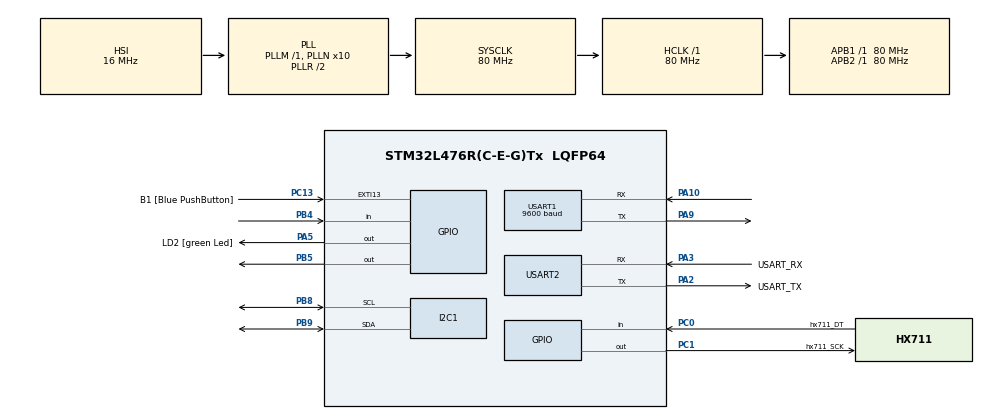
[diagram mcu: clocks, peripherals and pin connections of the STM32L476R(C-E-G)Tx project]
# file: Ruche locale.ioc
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Dma.Request0=USART1_RX
Dma.Request1=USART1_TX
Dma.Request2=USART2_RX
Dma.Request3=USART2_TX
Dma.USART1_RX.0.Direction=DMA_PERIPH_TO_MEMORY
Dma.USART1_RX.0.Instance=DMA1_Channel5
Dma.USART1_RX.0.MemDataAlignment=DMA_MDATAALIGN_BYTE
Dma.USART1_RX.0.MemInc=DMA_MINC_ENABLE
Dma.USART1_RX.0.Mode=DMA_NORMAL
Dma.USART1_RX.0.PeriphDataAlignment=DMA_PDATAALIGN_BYTE
Dma.USART1_RX.0.PeriphInc=DMA_PINC_DISABLE
Dma.USART1_RX.0.Priority=DMA_PRIORITY_LOW
Dma.USART1_TX.1.Direction=DMA_MEMORY_TO_PERIPH
Dma.USART1_TX.1.Instance=DMA1_Channel4
Dma.USART1_TX.1.MemDataAlignment=DMA_MDATAALIGN_BYTE
Dma.USART1_TX.1.MemInc=DMA_MINC_ENABLE
Dma.USART1_TX.1.Mode=DMA_NORMAL
Dma.USART1_TX.1.PeriphDataAlignment=DMA_PDATAALIGN_BYTE
Dma.USART1_TX.1.PeriphInc=DMA_PINC_DISABLE
Dma.USART1_TX.1.Priority=DMA_PRIORITY_LOW
Dma.USART2_RX.2.Direction=DMA_PERIPH_TO_MEMORY
Dma.USART2_RX.2.Instance=DMA1_Channel6
Dma.USART2_RX.2.MemDataAlignment=DMA_MDATAALIGN_BYTE
Dma.USART2_RX.2.MemInc=DMA_MINC_ENABLE
Dma.USART2_RX.2.Mode=DMA_NORMAL
Dma.USART2_RX.2.PeriphDataAlignment=DMA_PDATAALIGN_BYTE
Dma.USART2_RX.2.PeriphInc=DMA_PINC_DISABLE
Dma.USART2_RX.2.Priority=DMA_PRIORITY_LOW
Dma.USART2_TX.3.Direction=DMA_MEMORY_TO_PERIPH
Dma.USART2_TX.3.Instance=DMA1_Channel7
Dma.USART2_TX.3.MemDataAlignment=DMA_MDATAALIGN_BYTE
Dma.USART2_TX.3.MemInc=DMA_MINC_ENABLE
Dma.USART2_TX.3.Mode=DMA_NORMAL
Dma.USART2_TX.3.PeriphDataAlignment=DMA_PDATAALIGN_BYTE
Dma.USART2_TX.3.PeriphInc=DMA_PINC_DISABLE
Dma.USART2_TX.3.Priority=DMA_PRIORITY_LOW
I2C1.Timing=0x10D19CE4
Mcu.Family=STM32L4
Mcu.Name=STM32L476R(C-E-G)Tx
Mcu.Package=LQFP64
NVIC.DMA1_Channel4_IRQn=true\:0\:0\:false\:false\:true\:false\:true\:true
NVIC.DMA1_Channel5_IRQn=true\:0\:0\:false\:false\:true\:false\:true\:true
NVIC.DMA1_Channel6_IRQn=true\:0\:0\:false\:false\:true\:false\:true\:true
NVIC.DMA1_Channel7_IRQn=true\:0\:0\:false\:false\:true\:false\:true\:true
NVIC.PriorityGroup=NVIC_PRIORITYGROUP_4
PA10.Mode=Asynchronous
PA10.Signal=USART1_RX
PA13\ (JTMS-SWDIO).GPIO_Label=TMS
PA13\ (JTMS-SWDIO).Mode=Serial_Wire
PA13\ (JTMS-SWDIO).Signal=SYS_JTMS-SWDIO
PA14\ (JTCK-SWCLK).GPIO_Label=TCK
PA14\ (JTCK-SWCLK).Mode=Serial_Wire
PA14\ (JTCK-SWCLK).Signal=SYS_JTCK-SWCLK
PA2.GPIO_Label=USART_TX
PA2.GPIO_Mode=GPIO_MODE_AF_PP
PA2.GPIO_PuPd=GPIO_NOPULL
PA2.GPIO_Speed=GPIO_SPEED_FREQ_VERY_HIGH
PA2.Mode=Asynchronous
PA2.Signal=USART2_TX
PA3.GPIO_Label=USART_RX
PA3.GPIO_Mode=GPIO_MODE_AF_PP
PA3.GPIO_PuPd=GPIO_NOPULL
PA3.GPIO_Speed=GPIO_SPEED_FREQ_VERY_HIGH
PA3.Mode=Asynchronous
PA3.Signal=USART2_RX
PA5.GPIO_Label=LD2 [green Led]
PA5.GPIO_ModeDefaultOutputPP=GPIO_MODE_OUTPUT_PP
PA5.GPIO_PuPd=GPIO_NOPULL
PA5.GPIO_Speed=GPIO_SPEED_FREQ_LOW
PA5.Signal=GPIO_Output
PA9.Mode=Asynchronous
PA9.Signal=USART1_TX
PB3\ (JTDO-TRACESWO).GPIO_Label=SWO
PB3\ (JTDO-TRACESWO).Signal=SYS_JTDO-SWO
PB4\ (NJTRST).Signal=GPIO_Input
PB5.GPIO_ModeDefaultOutputPP=GPIO_MODE_OUTPUT_OD
PB5.GPIO_PuPd=GPIO_PULLUP
PB5.Signal=GPIO_Output
PB8.Mode=I2C
PB8.Signal=I2C1_SCL
PB9.Mode=I2C
PB9.Signal=I2C1_SDA
PC0.GPIO_Label=hx711_DT
PC0.Signal=GPIO_Input
PC1.GPIO_Label=hx711_SCK
PC1.GPIO_Speed=GPIO_SPEED_FREQ_MEDIUM
PC1.Signal=GPIO_Output
PC13.GPIO_Label=B1 [Blue PushButton]
PC13.GPIO_ModeDefaultEXTI=GPIO_MODE_IT_FALLING
PC13.GPIO_PuPd=GPIO_NOPULL
PC13.Signal=GPXTI13
PC14-OSC32_IN\ (PC14).Mode=LSE-External-Oscillator
PC14-OSC32_IN\ (PC14).Signal=RCC_OSC32_IN
PC15-OSC32_OUT\ (PC15).Mode=LSE-External-Oscillator
PC15-OSC32_OUT\ (PC15).Signal=RCC_OSC32_OUT
PH0-OSC_IN\ (PH0).Signal=RCC_OSC_IN
PH1-OSC_OUT\ (PH1).Signal=RCC_OSC_OUT
ProjectManager.HeapSize=0x200
ProjectManager.StackSize=0x400
ProjectManager.TargetToolchain=STM32CubeIDE
RCC.ADCFreq_Value=64000000
RCC.AHBFreq_Value=80000000
RCC.APB1Freq_Value=80000000
RCC.APB1TimFreq_Value=80000000
RCC.APB2Freq_Value=80000000
RCC.APB2TimFreq_Value=80000000
RCC.CortexFreq_Value=80000000
RCC.HCLKFreq_Value=80000000
RCC.HSE_VALUE=8000000
RCC.HSI_VALUE=16000000
RCC.MSI_VALUE=4000000
RCC.PLLN=10
RCC.PLLSourceVirtual=RCC_PLLSOURCE_HSI
RCC.PREFETCH_ENABLE=1
RCC.SYSCLKFreq_VALUE=80000000
RCC.SYSCLKSource=RCC_SYSCLKSOURCE_PLLCLK
RCC.USBFreq_Value=64000000
RCC.VCOOutputFreq_Value=160000000
TIM2.Prescaler=79
TIM6.Prescaler=50-1
USART1.BaudRate=9600
USART1.VirtualMode-Asynchronous=VM_ASYNC
USART2.VirtualMode-Asynchronous=VM_ASYNC
VP_TIM2_VS_ClockSourceINT.Mode=Internal
VP_TIM6_VS_ClockSourceINT.Mode=Enable_Timer
board=NUCLEO-L476RG

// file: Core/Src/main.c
/* USER CODE BEGIN Header */
/**
  ******************************************************************************
  * @file           : main.c
  * @brief          : Main program body
  ******************************************************************************
  * @attention
  *
  * Copyright (c) 2025 STMicroelectronics.
  * All rights reserved.
  *
  * This software is licensed under terms that can be found in the LICENSE file
  * in the root directory of this software component.
  * If no LICENSE file comes with this software, it is provided AS-IS.
  *
  ******************************************************************************
  */
/* USER CODE END Header */
#include "main.h"
#include "dma.h"
#include "i2c.h"
#include "tim.h"
#include "usart.h"
#include "gpio.h"

/* USER CODE BEGIN Includes */
#include "lcd.h"
#include "stdio.h"
#include "stdlib.h"
#include "hx711.h"
#include "us.h"
#include "string.h"

/* USER CODE END Includes */

/* USER CODE BEGIN PD */
#define RX_BUFF_SIZE 100 //LoRa
#define DHT11_PORT GPIOB  // Port utilisé
#define DHT11_PIN GPIO_PIN_5 // Pin utilisé
#define SHT31_ADDR (0x44 << 1)  // Adresse I2C du SHT31 (dépend du câblage ADDR)
uint8_t cmd[2] = {0x24, 0x00};  // Commande pour lancer une mesure
uint8_t data[6];  // Réponse du capteur (6 octets)
rgb_lcd lcd_config;
/* USER CODE END PD */

/* USER CODE BEGIN PM */
uint8_t rxBuff[RX_BUFF_SIZE] = {0}; //LoRa
uint8_t sequence = 0;
char sensorData[150] = {0};
char atCommand[200] = {0};
/* USER CODE END PM */

/* USER CODE BEGIN PV */
uint8_t Presence, Rh_byte1, Rh_byte2, Temp_byte1, Temp_byte2, SUM;
uint8_t TEMP, RH;
/* USER CODE END PV */

void SystemClock_Config(void);
/* USER CODE BEGIN PFP */
void SystemClock_Config(void);
void Set_Pin_Output(GPIO_TypeDef *GPIOx, uint16_t GPIO_Pin);
void Set_Pin_Input(GPIO_TypeDef *GPIOx, uint16_t GPIO_Pin);
void delay_us1(uint16_t time);
void Display_Temp(uint8_t Temp);
void Display_Rh(uint8_t Rh);
/* USER CODE END PFP */

/* USER CODE BEGIN 0 */
HX711 hx711;

void Set_Pin_Output(GPIO_TypeDef *GPIOx, uint16_t GPIO_Pin)
{
    GPIO_InitTypeDef GPIO_InitStruct = {0};
    GPIO_InitStruct.Pin = GPIO_Pin;
    GPIO_InitStruct.Mode = GPIO_MODE_OUTPUT_OD;
    GPIO_InitStruct.Pull = GPIO_NOPULL;
    GPIO_InitStruct.Speed = GPIO_SPEED_FREQ_LOW;
    HAL_GPIO_Init(GPIOx, &GPIO_InitStruct);
}

void Set_Pin_Input(GPIO_TypeDef *GPIOx, uint16_t GPIO_Pin)
{
    GPIO_InitTypeDef GPIO_InitStruct = {0};
    GPIO_InitStruct.Pin = GPIO_Pin;
    GPIO_InitStruct.Mode = GPIO_MODE_INPUT;
    GPIO_InitStruct.Pull = GPIO_NOPULL;
    HAL_GPIO_Init(GPIOx, &GPIO_InitStruct);
}

void delay_us1(uint16_t time)
{
    __HAL_TIM_SET_COUNTER(&htim6, 0);
    while (__HAL_TIM_GET_COUNTER(&htim6) < time);
}

void DHT11_Start(void)
{
    Set_Pin_Output(DHT11_PORT, DHT11_PIN);
    HAL_GPIO_WritePin(DHT11_PORT, DHT11_PIN, 0);
    delay_us1(18000);
    Set_Pin_Input(DHT11_PORT, DHT11_PIN);
}

uint8_t Check_Response(void)
{
	//uint8_t Response = 0;
    uint32_t timeout = 10000; // Timeout pour éviter une boucle infinie

    delay_us1(40);
    while (!(HAL_GPIO_ReadPin(DHT11_PORT, DHT11_PIN)) && timeout > 0) {
        timeout--;
        delay_us1(1);
    }

    if (timeout == 0) {
        return -1;  // Le capteur ne répond pas
    }

    timeout = 10000; // Réinitialisation du timeout
    delay_us1(80);
    while ((HAL_GPIO_ReadPin(DHT11_PORT, DHT11_PIN)) && timeout > 0) {
        timeout--;
        delay_us1(1);
    }

    if (timeout == 0) {
        return -1;  // Mauvaise réponse du capteur
    }

    return 1; // Capteur détecté
}

uint8_t DHT11_Read(void)
{
    uint8_t i = 0, j;
    for (j = 0; j < 8; j++)
    {
        while (!(HAL_GPIO_ReadPin(DHT11_PORT, DHT11_PIN)));
        delay_us1(40);
        if (!(HAL_GPIO_ReadPin(DHT11_PORT, DHT11_PIN)))
        {
            i &= ~(1 << (7 - j));
        }
        else i |= (1 << (7 - j));
        while ((HAL_GPIO_ReadPin(DHT11_PORT, DHT11_PIN)));
    }
    return i;
}

/* USER CODE END 0 */

int main(void)
{

  /* MCU Configuration--------------------------------------------------------*/

  /* Reset of all peripherals, Initializes the Flash interface and the Systick. */
  HAL_Init();

  /* Configure the system clock */
  SystemClock_Config();

  /* Initialize all configured peripherals */
  MX_GPIO_Init();
  MX_DMA_Init();
  MX_USART2_UART_Init();
  MX_I2C1_Init();
  MX_TIM6_Init();
  MX_TIM2_Init();
  MX_USART1_UART_Init();
  /* USER CODE BEGIN 2 */
  //HAL_UART_Transmit(&huart2, (uint8_t*)"USART2 Initialise ! Pret a communiquer avec PuTTY...\r\n", 54, 20);
  US_Init();
  HX711_Init(&hx711, GPIOC, GPIO_PIN_0, GPIOC, GPIO_PIN_1);
  HX711_Tare(&hx711, 10);  // opération de tare
  uint32_t lastDisplay = 0;

  HAL_TIM_Base_Start(&htim6);
  rgb_lcd lcd_data;
  lcd_init(&hi2c1, &lcd_data);

  lcd_send_string("   LA RUCHE !!!");
  HAL_Delay(2000);
  clearlcd();

  void Display_Temp(uint8_t Temp)
  {
      char str[16] = {0};
      lcd_put_cur(0, 0);
      sprintf(str, "TEMP : %dC   ", Temp);
      lcd_send_string(str);
  }

  void Display_Rh(uint8_t Rh)
  {
      char str[16] = {0};
      lcd_put_cur(0, 1);
      sprintf(str, "HUM : %d %%    ", Rh);
      lcd_send_string(str);
  }

  //char buffer_temp[50];
  //char buffer_humi[50];

  /* USER CODE END 2 */

  /* Infinite loop */
  while (1)
  {

    /* USER CODE BEGIN 3 */

	  //DHT11 debut

      DHT11_Start();
      Presence = Check_Response();

      if (Presence != 1)
      {
          lcd_put_cur(1, 0);
          lcd_send_string("PATIENCE !  ");
          HAL_Delay(2000);
          continue;
      }

      Rh_byte1 = DHT11_Read();
      Rh_byte2 = DHT11_Read();
      Temp_byte1 = DHT11_Read();
      Temp_byte2 = DHT11_Read();
      SUM = DHT11_Read();

      if ((Rh_byte1 + Rh_byte2 + Temp_byte1 + Temp_byte2) != SUM)
      {
          lcd_put_cur(1, 0);
          lcd_send_string("Checksum err ");
          HAL_Delay(2000);
          continue;
      }

      TEMP = Temp_byte1;
      RH = Rh_byte1;

      clearlcd();  // Ajoute cette ligne pour effacer l'ancien affichage**
      lcd_position(&hi2c1, 0, 0);  // Positionnement du curseur (ligne 0, colonne 0)
      lcd_print(&hi2c1, "DONNEES INTERNES"); // Affichage du message "Hello, World!"
      HAL_Delay(1500);
      clearlcd();
      HAL_Delay(100);

      Display_Temp(TEMP);
      Display_Rh(RH);
      HAL_Delay(3000);
      clearlcd();
      HAL_Delay(100);
      //DHT11 fin

      //SHT31 debut
      lcd_position(&hi2c1, 0, 0);  // Positionnement du curseur (ligne 0, colonne 0)
      lcd_print(&hi2c1, "DONNEES EXTERNES"); // Affichage du message "Hello, World!"
      HAL_Delay(1500);
      clearlcd();
      HAL_Delay(100);
      // 1️⃣ Envoi de la commande de mesure
      if (HAL_I2C_Master_Transmit(&hi2c1, SHT31_ADDR, cmd, 2, HAL_MAX_DELAY) != HAL_OK) {
          lcd_position(&hi2c1, 0, 0);
          lcd_print(&hi2c1, "I2C TX Error");
          HAL_Delay(2000);
          continue;
      }

      HAL_Delay(100);

      // 2️⃣ Réception des données
      if (HAL_I2C_Master_Receive(&hi2c1, SHT31_ADDR, data, 6, HAL_MAX_DELAY) != HAL_OK) {
          lcd_position(&hi2c1, 0, 0);
          lcd_print(&hi2c1, "I2C RX Error");
          HAL_Delay(2000);
          continue;
      }

      // 3️⃣ Vérification des données reçues
      if (data[0] == 0x00 && data[1] == 0x00 && data[3] == 0x00 && data[4] == 0x00) {
          lcd_position(&hi2c1, 0, 0);
          lcd_print(&hi2c1, "Capteur NOK");
          HAL_Delay(2000);
          continue;
      }

      // 4️⃣ Traitement des données reçues
      uint16_t ligne_temperature = (data[0] << 8) | data[1];
      uint16_t ligne_humidite = (data[3] << 8) | data[4];

      int temp_int = (-45 * 100 + (175 * (int)ligne_temperature) / 655);  // Multiplié par 100
      int humi_int = (100 * (int)ligne_humidite) / 655;                   // Multiplié par 100

      char buffer_temp[10];
      char buffer_humi[10];

      sprintf(buffer_temp, "%d.%d", temp_int / 100, temp_int % 100);
      sprintf(buffer_humi, "%d.%d", humi_int / 100, humi_int % 100);

      // 5️⃣ Affichage sur LCD
      lcd_position(&hi2c1, 0, 0);
      lcd_print(&hi2c1, "TEMP: ");

      lcd_position(&hi2c1, 6, 0);
      lcd_print(&hi2c1, buffer_temp);

      lcd_position(&hi2c1, 12, 0);
      lcd_print(&hi2c1, "C");

      lcd_position(&hi2c1, 0, 1);
      lcd_print(&hi2c1, "HUM:");

      lcd_position(&hi2c1, 6, 1);
      lcd_print(&hi2c1, buffer_humi);

      lcd_position(&hi2c1, 12, 1);
      lcd_print(&hi2c1, "%");

      HAL_Delay(1500);
      //clearlcd();
      //HAL_Delay(100);
      //SHT31 fin

	  //HX711 debut // A commenter si la deuxième ligne du lcd ne fonctionne pas (debut-fin)
	  // Mesure et transmission du poids sur USART2 (vous pouvez conserver cette partie si nécessaire)
	    int32_t weight = HX711_GetWeight(&hx711);
	    char buf_usart[50];
	    sprintf(buf_usart, "Poids : %ld g\r\n", weight);
	    HAL_UART_Transmit(&huart2, (uint8_t *)buf_usart, strlen(buf_usart), HAL_MAX_DELAY);

	    // Vérifier si 1 minute (60000 ms) s'est écoulée depuis le dernier affichage sur le LCD
	    if (HAL_GetTick() - lastDisplay >= 60000)
	    {
	        lastDisplay = HAL_GetTick();

	        // Préparer la chaîne à afficher sur le LCD
	        char buf_lcd[16];
	        sprintf(buf_lcd, "Poids : %ld g", weight);
	        clearlcd();
	        // Positionner le curseur et afficher le poids sur le LCD
	        lcd_position(&hi2c1, 0, 0);
	        lcd_print(&hi2c1, buf_lcd);

	        // Laisser le temps à l'utilisateur de lire (par exemple 3 secondes)
	        HAL_Delay(3000);
	        clearlcd();
	        HAL_Delay(100);
	    }
	    //HX711 fin

      //debut d'envoie LoRa

      switch(sequence)
      {
        case 0:
            // Envoyer le poids uniquement
            sprintf(sensorData, "Poids: %ld g", weight);
            break;
        case 1:
            // Envoyer les données internes (DHT11)
            sprintf(sensorData, "Ti:%dC,Hi:%d%%", TEMP, RH);
            break;
        case 2:
            // Envoyer les données externes (SHT31)
            sprintf(sensorData, "Tx:%sC,Hx:%s%%", buffer_temp, buffer_humi);
            break;

        case 3:
            // Envoyer l'état du capteur PIR
            // On lit l'état de la broche PB4. Si HIGH, on considère que le mouvement est détecté.
            if (HAL_GPIO_ReadPin(GPIOB, GPIO_PIN_4) == GPIO_PIN_SET)
                sprintf(sensorData, "TOR:motion");
            else
                sprintf(sensorData, "TOR:No motion");
            break;

        default:
            break;
      }

      // Construire la commande AT avec le message construit
      sprintf(atCommand, "AT+TEST=TXLRSTR, \"%s\"", sensorData);
      //sprintf(atCommand, "AT+MODE=TEST"); //Necessaire pour commencer la transmission

      // Affichage sur le moniteur pour vérification
      HAL_UART_Transmit(&huart2, (uint8_t *)"Sending command: ", 17, 100);
      HAL_UART_Transmit(&huart2, (uint8_t *)atCommand, strlen(atCommand), 100);
      HAL_UART_Transmit(&huart2, (uint8_t *)"\r\n", 2, 100);

      // Envoi de la commande AT via le module LoRa (USART1)
      HAL_UART_Transmit(&huart1, (uint8_t *)atCommand, strlen(atCommand), 100);

      // Optionnel : réception et affichage de la réponse du module LoRa sur le moniteur
      HAL_UART_Receive(&huart1, rxBuff, RX_BUFF_SIZE, 2000);
      HAL_UART_Transmit(&huart2, rxBuff, strlen((char *)rxBuff), 100);

      // Attendre avant de passer à la séquence suivante
      HAL_Delay(1000);

      // Passer à la séquence suivante (0->1->2->0...)
      sequence = (sequence + 1) % 4;

     // HAL_Delay(3000);
  }

  /* USER CODE END 3 */
}

void SystemClock_Config(void)
{
  RCC_OscInitTypeDef RCC_OscInitStruct = {0};
  RCC_ClkInitTypeDef RCC_ClkInitStruct = {0};

  /** Configure the main internal regulator output voltage
  */
  if (HAL_PWREx_ControlVoltageScaling(PWR_REGULATOR_VOLTAGE_SCALE1) != HAL_OK)
  {
    Error_Handler();
  }

  /** Initializes the RCC Oscillators according to the specified parameters
  * in the RCC_OscInitTypeDef structure.
  */
  RCC_OscInitStruct.OscillatorType = RCC_OSCILLATORTYPE_HSI;
  RCC_OscInitStruct.HSIState = RCC_HSI_ON;
  RCC_OscInitStruct.HSICalibrationValue = RCC_HSICALIBRATION_DEFAULT;
  RCC_OscInitStruct.PLL.PLLState = RCC_PLL_ON;
  RCC_OscInitStruct.PLL.PLLSource = RCC_PLLSOURCE_HSI;
  RCC_OscInitStruct.PLL.PLLM = 1;
  RCC_OscInitStruct.PLL.PLLN = 10;
  RCC_OscInitStruct.PLL.PLLP = RCC_PLLP_DIV7;
  RCC_OscInitStruct.PLL.PLLQ = RCC_PLLQ_DIV2;
  RCC_OscInitStruct.PLL.PLLR = RCC_PLLR_DIV2;
  if (HAL_RCC_OscConfig(&RCC_OscInitStruct) != HAL_OK)
  {
    Error_Handler();
  }

  /** Initializes the CPU, AHB and APB buses clocks
  */
  RCC_ClkInitStruct.ClockType = RCC_CLOCKTYPE_HCLK|RCC_CLOCKTYPE_SYSCLK
                              |RCC_CLOCKTYPE_PCLK1|RCC_CLOCKTYPE_PCLK2;
  RCC_ClkInitStruct.SYSCLKSource = RCC_SYSCLKSOURCE_PLLCLK;
  RCC_ClkInitStruct.AHBCLKDivider = RCC_SYSCLK_DIV1;
  RCC_ClkInitStruct.APB1CLKDivider = RCC_HCLK_DIV1;
  RCC_ClkInitStruct.APB2CLKDivider = RCC_HCLK_DIV1;

  if (HAL_RCC_ClockConfig(&RCC_ClkInitStruct, FLASH_LATENCY_4) != HAL_OK)
  {
    Error_Handler();
  }
}

void Error_Handler(void)
{
  __disable_irq();
  while (1)
  {
  }
}
